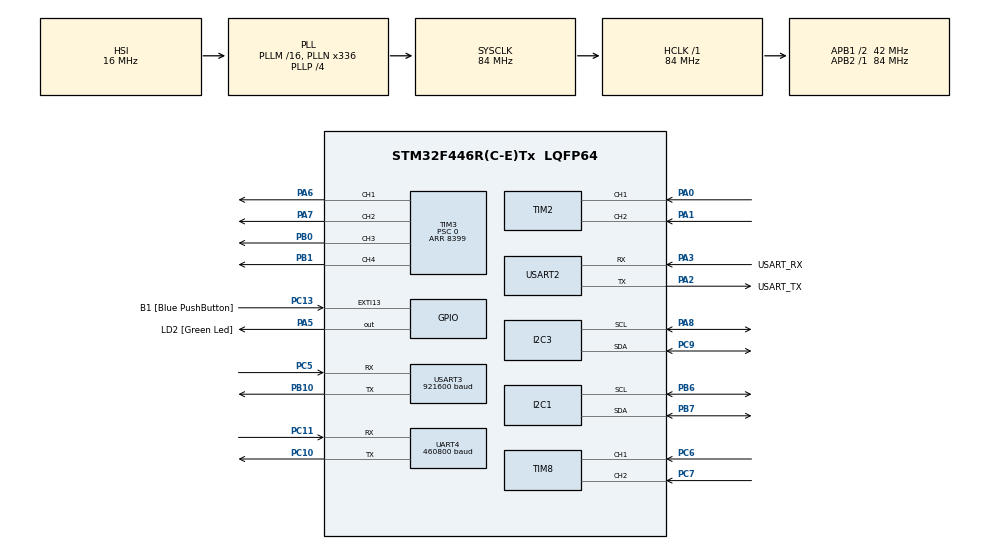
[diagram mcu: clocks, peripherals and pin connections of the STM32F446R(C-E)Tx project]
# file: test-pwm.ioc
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Dma.MEMTOMEM.2.Direction=DMA_MEMORY_TO_MEMORY
Dma.MEMTOMEM.2.FIFOMode=DMA_FIFOMODE_ENABLE
Dma.MEMTOMEM.2.FIFOThreshold=DMA_FIFO_THRESHOLD_FULL
Dma.MEMTOMEM.2.Instance=DMA2_Stream0
Dma.MEMTOMEM.2.MemBurst=DMA_MBURST_SINGLE
Dma.MEMTOMEM.2.MemDataAlignment=DMA_MDATAALIGN_BYTE
Dma.MEMTOMEM.2.MemInc=DMA_MINC_ENABLE
Dma.MEMTOMEM.2.Mode=DMA_NORMAL
Dma.MEMTOMEM.2.PeriphBurst=DMA_PBURST_SINGLE
Dma.MEMTOMEM.2.PeriphDataAlignment=DMA_PDATAALIGN_BYTE
Dma.MEMTOMEM.2.PeriphInc=DMA_PINC_ENABLE
Dma.MEMTOMEM.2.Priority=DMA_PRIORITY_LOW
Dma.Request0=UART4_RX
Dma.Request1=USART3_RX
Dma.Request2=MEMTOMEM
Dma.Request3=USART3_TX
Dma.UART4_RX.0.Direction=DMA_PERIPH_TO_MEMORY
Dma.UART4_RX.0.FIFOMode=DMA_FIFOMODE_DISABLE
Dma.UART4_RX.0.Instance=DMA1_Stream2
Dma.UART4_RX.0.MemDataAlignment=DMA_MDATAALIGN_BYTE
Dma.UART4_RX.0.MemInc=DMA_MINC_ENABLE
Dma.UART4_RX.0.Mode=DMA_CIRCULAR
Dma.UART4_RX.0.PeriphDataAlignment=DMA_PDATAALIGN_BYTE
Dma.UART4_RX.0.PeriphInc=DMA_PINC_DISABLE
Dma.UART4_RX.0.Priority=DMA_PRIORITY_LOW
Dma.USART3_RX.1.Direction=DMA_PERIPH_TO_MEMORY
Dma.USART3_RX.1.FIFOMode=DMA_FIFOMODE_DISABLE
Dma.USART3_RX.1.Instance=DMA1_Stream1
Dma.USART3_RX.1.MemDataAlignment=DMA_MDATAALIGN_BYTE
Dma.USART3_RX.1.MemInc=DMA_MINC_ENABLE
Dma.USART3_RX.1.Mode=DMA_NORMAL
Dma.USART3_RX.1.PeriphDataAlignment=DMA_PDATAALIGN_BYTE
Dma.USART3_RX.1.PeriphInc=DMA_PINC_DISABLE
Dma.USART3_RX.1.Priority=DMA_PRIORITY_LOW
Dma.USART3_TX.3.Direction=DMA_MEMORY_TO_PERIPH
Dma.USART3_TX.3.FIFOMode=DMA_FIFOMODE_DISABLE
Dma.USART3_TX.3.Instance=DMA1_Stream3
Dma.USART3_TX.3.MemDataAlignment=DMA_MDATAALIGN_BYTE
Dma.USART3_TX.3.MemInc=DMA_MINC_ENABLE
Dma.USART3_TX.3.Mode=DMA_NORMAL
Dma.USART3_TX.3.PeriphDataAlignment=DMA_PDATAALIGN_BYTE
Dma.USART3_TX.3.PeriphInc=DMA_PINC_DISABLE
Dma.USART3_TX.3.Priority=DMA_PRIORITY_LOW
Mcu.Family=STM32F4
Mcu.Name=STM32F446R(C-E)Tx
Mcu.Package=LQFP64
NVIC.DMA1_Stream1_IRQn=true\:0\:0\:false\:false\:true\:false\:true\:true
NVIC.DMA1_Stream2_IRQn=true\:0\:0\:false\:false\:true\:false\:true\:true
NVIC.DMA1_Stream3_IRQn=true\:0\:0\:false\:false\:true\:false\:true\:true
NVIC.PriorityGroup=NVIC_PRIORITYGROUP_4
NVIC.TIM5_IRQn=true\:1\:0\:true\:false\:true\:true\:true\:true
NVIC.TIM6_DAC_IRQn=true\:0\:0\:true\:false\:true\:true\:true\:true
NVIC.UART4_IRQn=true\:6\:0\:true\:false\:true\:true\:true\:true
NVIC.USART3_IRQn=true\:5\:0\:true\:false\:true\:true\:true\:true
PA0-WKUP.Signal=S_TIM2_CH1_ETR
PA1.Signal=S_TIM2_CH2
PA13.GPIO_Label=TMS
PA13.Mode=Serial_Wire
PA13.Signal=SYS_JTMS-SWDIO
PA14.GPIO_Label=TCK
PA14.Mode=Serial_Wire
PA14.Signal=SYS_JTCK-SWCLK
PA2.GPIO_Label=USART_TX
PA2.Mode=Asynchronous
PA2.Signal=USART2_TX
PA3.GPIO_Label=USART_RX
PA3.Mode=Asynchronous
PA3.Signal=USART2_RX
PA5.GPIO_Label=LD2 [Green Led]
PA5.Signal=GPIO_Output
PA6.Signal=S_TIM3_CH1
PA7.Signal=S_TIM3_CH2
PA8.Mode=I2C
PA8.Signal=I2C3_SCL
PB0.Signal=S_TIM3_CH3
PB1.Signal=S_TIM3_CH4
PB10.Mode=Asynchronous
PB10.Signal=USART3_TX
PB3.GPIO_Label=SWO
PB3.Signal=SYS_JTDO-SWO
PB6.Mode=I2C
PB6.Signal=I2C1_SCL
PB7.Mode=I2C
PB7.Signal=I2C1_SDA
PC10.Mode=Asynchronous
PC10.Signal=UART4_TX
PC11.Mode=Asynchronous
PC11.Signal=UART4_RX
PC13.GPIO_Label=B1 [Blue PushButton]
PC13.GPIO_ModeDefaultEXTI=GPIO_MODE_IT_FALLING
PC13.Signal=GPXTI13
PC14-OSC32_IN.Mode=LSE-External-Oscillator
PC14-OSC32_IN.Signal=RCC_OSC32_IN
PC15-OSC32_OUT.Mode=LSE-External-Oscillator
PC15-OSC32_OUT.Signal=RCC_OSC32_OUT
PC5.Mode=Asynchronous
PC5.Signal=USART3_RX
PC6.Signal=S_TIM8_CH1
PC7.Signal=S_TIM8_CH2
PC9.Mode=I2C
PC9.Signal=I2C3_SDA
PH0-OSC_IN.Mode=HSE-External-Oscillator
PH0-OSC_IN.Signal=RCC_OSC_IN
PH1-OSC_OUT.Mode=HSE-External-Oscillator
PH1-OSC_OUT.Signal=RCC_OSC_OUT
ProjectManager.HeapSize=0x200
ProjectManager.StackSize=0x400
ProjectManager.TargetToolchain=MDK-ARM V5.32
RCC.48MHZClocksFreq_Value=84000000
RCC.AHBFreq_Value=84000000
RCC.APB1CLKDivider=RCC_HCLK_DIV2
RCC.APB1Freq_Value=42000000
RCC.APB1TimFreq_Value=84000000
RCC.APB2Freq_Value=84000000
RCC.APB2TimFreq_Value=84000000
RCC.CortexFreq_Value=84000000
RCC.FLatency-AdvancedSettings=FLASH_LATENCY_2
RCC.HCLKFreq_Value=84000000
RCC.HSE_VALUE=8000000
RCC.HSI_VALUE=16000000
RCC.PLLN=336
RCC.PLLP=RCC_PLLP_DIV4
RCC.SYSCLKFreq_VALUE=84000000
RCC.SYSCLKSource=RCC_SYSCLKSOURCE_PLLCLK
RCC.USBFreq_Value=168000000
RCC.VCOOutputFreq_Value=336000000
SH.S_TIM2_CH1_ETR.0=TIM2_CH1,Encoder_Interface
SH.S_TIM2_CH2.0=TIM2_CH2,Encoder_Interface
SH.S_TIM3_CH1.0=TIM3_CH1,PWM Generation1 CH1
SH.S_TIM3_CH2.0=TIM3_CH2,PWM Generation2 CH2
SH.S_TIM3_CH3.0=TIM3_CH3,PWM Generation3 CH3
SH.S_TIM3_CH4.0=TIM3_CH4,PWM Generation4 CH4
SH.S_TIM8_CH1.0=TIM8_CH1,Encoder_Interface
SH.S_TIM8_CH2.0=TIM8_CH2,Encoder_Interface
TIM2.EncoderMode=TIM_ENCODERMODE_TI12
TIM3.AutoReloadPreload=TIM_AUTORELOAD_PRELOAD_ENABLE
TIM3.Channel-PWM\ Generation1\ CH1=TIM_CHANNEL_1
TIM3.Channel-PWM\ Generation2\ CH2=TIM_CHANNEL_2
TIM3.Channel-PWM\ Generation3\ CH3=TIM_CHANNEL_3
TIM3.Channel-PWM\ Generation4\ CH4=TIM_CHANNEL_4
TIM3.Period=8399
TIM3.Prescaler=0
TIM3.Pulse-PWM\ Generation1\ CH1=8400
TIM3.Pulse-PWM\ Generation2\ CH2=5000
TIM3.Pulse-PWM\ Generation3\ CH3=8400
TIM3.Pulse-PWM\ Generation4\ CH4=5000
TIM5.Period=39999
TIM5.Prescaler=839
TIM5.TIM_MasterOutputTrigger=TIM_TRGO_RESET
TIM6.Period=99
TIM6.Prescaler=8399
TIM7.Prescaler=83
TIM8.EncoderMode=TIM_ENCODERMODE_TI12
UART4.BaudRate=460800
UART4.VirtualMode=Asynchronous
USART2.VirtualMode=VM_ASYNC
USART3.BaudRate=921600
USART3.VirtualMode=VM_ASYNC
VP_TIM1_VS_ClockSourceINT.Mode=Internal
VP_TIM3_VS_ClockSourceINT.Mode=Internal
VP_TIM5_VS_ClockSourceINT.Mode=Internal
VP_TIM6_VS_ClockSourceINT.Mode=Enable_Timer
VP_TIM7_VS_ClockSourceINT.Mode=Enable_Timer
board=NUCLEO-F446RE

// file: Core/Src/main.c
/* USER CODE BEGIN Header */
/**
  ******************************************************************************
  * @file           : main.c
  * @brief          : Main program body
  ******************************************************************************
  * @attention
  *
  * Copyright (c) 2025 STMicroelectronics.
  * All rights reserved.
  *
  * This software is licensed under terms that can be found in the LICENSE file
  * in the root directory of this software component.
  * If no LICENSE file comes with this software, it is provided AS-IS.
  *
  ******************************************************************************
  */
/* USER CODE END Header */
#include "main.h"
#include "dma.h"
#include "i2c.h"
#include "tim.h"
#include "usart.h"
#include "gpio.h"

/* USER CODE BEGIN Includes */
#include "mpu6050.h"
#include <string.h>
#include "communication.h"
#include "car_control.h"
#include "OLED.h"
#include "encoder.h"
#include <stdio.h>
#include "speed_solver.h"
#include "pid.h"
#include "laser_task.h"
#include "motor.h"
/* USER CODE END Includes */

/* USER CODE BEGIN PM */
volatile float current_yaw;
extern float angle_new,distance_new;
extern volatile int t;
extern volatile int V_A,V_B;
extern volatile float yaw_angle;
extern uint8_t uart3_rx_buffer[ ];
//extern volatile float angle_array[ ];   // 存储计算出的角度
//extern volatile float distance_array[ ]; // 存储计算出的距离
volatile int flag=0;
volatile int choice=0;
  char message[520*50];  // 每个数据项大约50个字符, 一共360个数据项
       int message_length = 0;   // 用来记录总消息长度
#define BUFFER_SIZE  2600
//#define HALF_SIZE    (BUFFER_SIZE / 2)
extern uint8_t buffer1[BUFFER_SIZE];
volatile int cmd2;
// 使用 volatile 来防止编译器优化
volatile uint16_t angle_q6[520];   // 存储计算出的角度
volatile uint16_t distance_q2[520]; // 存储计算出的距离
volatile uint8_t Quality[520];
volatile float angle_t[520];
volatile 	int w=0;
volatile int cmd_id=0;
volatile uint8_t status=0;
float angle_array[520];
float distance_array[520];
volatile float distance;
volatile int goal=0;

typedef struct __attribute__((packed)) {
    uint8_t Quality;
    uint16_t angle_q6;
    uint16_t distance_q2;
} RPLIDAR_Scan_Data_Send;

typedef struct __attribute__((packed)) {
    uint16_t data_count;
		RPLIDAR_Scan_Data_Send send_data[520];
} RPLIDAR_Send_Data;

void send_packetPacNew(
		uint8_t Send_Begin_1,
    uint8_t Send_Begin_2,

    uint32_t time_us,
    uint16_t cmd_id,
    uint8_t status,

    int encoder_l,
    int encoder_r,
    float current_yaw
	//	RPLIDAR_Send_Data rplidar520

) ;
RPLIDAR_Send_Data createRPLIDARData(
     uint8_t Quality[520],
    uint16_t angle_q6[520],
     uint16_t distance_q2[520]
) ;
RPLIDAR_Send_Data createRPLIDARData(
     uint8_t Quality[520],
    uint16_t angle_q6[520],
    uint16_t distance_q2[520]
);

		 struct __attribute__((packed)) {
        uint8_t Send_Begin_1; // ???????1
        uint8_t Send_Begin_2; // ???????2
        uint32_t time_us;     // ???
        uint16_t cmd_id;      // ??ID
        uint8_t status;       // ??
        int encoder_l;        // ????
        int encoder_r;        // ????
        float current_yaw;    // ????
     //  RPLIDAR_Send_Data rplidar_data; // LIDAR??
    } packet;
		 uint8_t tx_buffer[2600];  // DMA 发送用缓冲区
//encoder_l == V_A  encoder_r == V_B
/* USER CODE END PM */

/* USER CODE BEGIN PV */

volatile int16_t g_speed_pulse_left = 0;
volatile int16_t g_speed_pulse_right = 0;
 RPLIDAR_Send_Data rplidar_data;
PID_Controller_t pid_left;
PID_Controller_t pid_right;
volatile int tip=0;
volatile int tip2=0;
MPU6050_t mpu6050;
/* USER CODE END PV */

void SystemClock_Config(void);
/* USER CODE BEGIN PFP */
void processCommand(uint8_t command);
void Safe_UART_Transmit(UART_HandleTypeDef* huart, uint8_t* pData, uint16_t Size, uint32_t Timeout);
void send_packetPac(float anglePac,float distancePac,float pitchPac,float rollPac,float yawPac,float speedLeftPac,float speedRightPac);
int clc(float d){

return (int)(d*6625);
}

/* USER CODE END PFP */

/* USER CODE BEGIN 0 */

#define PWM_MAX_PERIOD          8400

#define MOTOR_TIM               htim3
//static uint32_t tickCnt = 0;

/*void HAL_SYSTICK_Callback(void)
{
  tickCnt++;
  // 姣? 100 ms 瑙﹀彂涓?娆″彂閫?
  if (tickCnt >= 100) {
    tickCnt = 0;
		float left_speed = Get_Left_Speed_RPS();
		float right_speed = Get_Right_Speed_RPS();

    send_packetPac(angle_new,distance_new,pitch,roll,yaw,left_speed,right_speed);
  }
}*/
/* USER CODE END 0 */

int main(void)
{

  /* MCU Configuration--------------------------------------------------------*/

  /* Reset of all peripherals, Initializes the Flash interface and the Systick. */
  HAL_Init();

  /* Configure the system clock */
  SystemClock_Config();

  /* Initialize all configured peripherals */
  MX_GPIO_Init();
  MX_DMA_Init();
  MX_USART2_UART_Init();
  MX_TIM3_Init();
  MX_USART3_UART_Init();
  MX_I2C1_Init();
  MX_I2C3_Init();
  MX_TIM8_Init();
  MX_TIM2_Init();
  MX_TIM6_Init();
  MX_UART4_Init();
  MX_TIM7_Init();
  MX_TIM1_Init();
  MX_TIM5_Init();
  /* USER CODE BEGIN 2 */

  HAL_TIM_PWM_Start(&htim3,TIM_CHANNEL_1);
 HAL_TIM_PWM_Start(&htim3,TIM_CHANNEL_2);
	HAL_TIM_PWM_Start(&htim3,TIM_CHANNEL_3);
	HAL_TIM_PWM_Start(&htim3,TIM_CHANNEL_4);
	stopMotors();
	Encoder_Init();
	Speed_Solver_Init();
	Communication_Init();
	HAL_TIM_Base_Start_IT(&htim6);
	HAL_TIM_Base_Start(&htim7);
	Speed_PID_Init();
	OLED_Init();
	OLED_ShowString8X16(0,0,"56789");
		int ret=1;
	do{
	ret=MPU6050_Init(&hi2c1);

	}while(ret);
	OLED_ShowString8X16(0,0,"12345");
		__HAL_TIM_CLEAR_FLAG(&htim1,TIM_FLAG_UPDATE);
		Laser_Task_Init();

//	HAL_TIM_Base_Start_IT(&htim5);
	//HAL_TIM_Base_Start_IT(&htim5);

	//PID1();

	//goForward(4500);
//	OLED_ShowString8X16(0,0,"MPU6050 Init");

//	stopMotors( );

//	int ret=0;
	//do{
//	ret=MPU6050_DMP_init();
//
//	}while(ret);

	  //HAL_Delay(1000);

	  //float set_speed = 3.0f;
		//GoForward_PID(set_speed);

    //HAL_Delay(1000);
    //Stop_PID();

  /* USER CODE END 2 */

  /* Infinite loop */
  while (1)
  {

    /* USER CODE BEGIN 3 */
		//OLED_Showdecimal8X16(0,2,V_A,5,3);
		//OLED_ShowNum8X16(0,4,tip,8);
		while(tip==1){
			//OLED_ShowString8X16(0,6,"it itff");
			 CommandPacket_t temp_cmd;
        memcpy(&temp_cmd, &uart3_rx_buffer[2], sizeof(CommandPacket_t));
	if(temp_cmd.data_len==10){
				cmd2=temp_cmd.cmd_id;
				OLED_ShowNum8X16(0,2,cmd2,8);
	//OLED_ShowString8X16(0,2,"it itff");
		OLED_Showdecimal8X16(0,4,temp_cmd.turn_rad,6,3);
			if(temp_cmd.turn_rad<185&&temp_cmd.turn_rad>-185){
			status=1;
			PID_TurnToLeft(temp_cmd.turn_rad);
			yaw_angle=0;
			status=2;
				HAL_Delay(7);
			distance=	temp_cmd.distance;
			goal=V_A+clc(distance);

			while(V_A<goal){
			 GetMotorPulse();
				PID1();

			}
			stopMotors();

			//
			//	OLED_ShowNum8X16(0,2,status,8);

		}}
	  status=0;
		tip=0;
		cmd_id=cmd2;
		HAL_UART_Receive_DMA(&huart3, uart3_rx_buffer, 16);

		}
		status=0;
		//OLED_Showdecimal8X16(0,4,yaw_angle,6,3);
	//	PID_TurnToLeft(180);
	//		OLED_Showdecimal8X16(0,4,current_yaw,6,3);
	//	yaw_angle=0;
	//	HAL_Delay(3000);

		//PID_TurnToLeft(180);
	//	OLED_Showdecimal8X16(0,2,mpu6050.KalmanAngleZ,3,3);
		//HAL_Delay(100);

		 //HAL_Delay(300);
	//while(tip==1){
	//	PID_TurnToLeft(CommandPacket_t.turn_rad);

//  }

  }
  /* USER CODE END 3 */
}

void SystemClock_Config(void)
{
  RCC_OscInitTypeDef RCC_OscInitStruct = {0};
  RCC_ClkInitTypeDef RCC_ClkInitStruct = {0};

  /** Configure the main internal regulator output voltage
  */
  __HAL_RCC_PWR_CLK_ENABLE();
  __HAL_PWR_VOLTAGESCALING_CONFIG(PWR_REGULATOR_VOLTAGE_SCALE3);

  /** Initializes the RCC Oscillators according to the specified parameters
  * in the RCC_OscInitTypeDef structure.
  */
  RCC_OscInitStruct.OscillatorType = RCC_OSCILLATORTYPE_HSI;
  RCC_OscInitStruct.HSIState = RCC_HSI_ON;
  RCC_OscInitStruct.HSICalibrationValue = RCC_HSICALIBRATION_DEFAULT;
  RCC_OscInitStruct.PLL.PLLState = RCC_PLL_ON;
  RCC_OscInitStruct.PLL.PLLSource = RCC_PLLSOURCE_HSI;
  RCC_OscInitStruct.PLL.PLLM = 16;
  RCC_OscInitStruct.PLL.PLLN = 336;
  RCC_OscInitStruct.PLL.PLLP = RCC_PLLP_DIV4;
  RCC_OscInitStruct.PLL.PLLQ = 2;
  RCC_OscInitStruct.PLL.PLLR = 2;
  if (HAL_RCC_OscConfig(&RCC_OscInitStruct) != HAL_OK)
  {
    Error_Handler();
  }

  /** Initializes the CPU, AHB and APB buses clocks
  */
  RCC_ClkInitStruct.ClockType = RCC_CLOCKTYPE_HCLK|RCC_CLOCKTYPE_SYSCLK
                              |RCC_CLOCKTYPE_PCLK1|RCC_CLOCKTYPE_PCLK2;
  RCC_ClkInitStruct.SYSCLKSource = RCC_SYSCLKSOURCE_PLLCLK;
  RCC_ClkInitStruct.AHBCLKDivider = RCC_SYSCLK_DIV1;
  RCC_ClkInitStruct.APB1CLKDivider = RCC_HCLK_DIV2;
  RCC_ClkInitStruct.APB2CLKDivider = RCC_HCLK_DIV1;

  if (HAL_RCC_ClockConfig(&RCC_ClkInitStruct, FLASH_LATENCY_2) != HAL_OK)
  {
    Error_Handler();
  }
}

/* USER CODE BEGIN 4 */

void processCommand(uint8_t command)
{

  uint16_t move_speed = 5500;
  uint16_t turn_speed = 5000;
//	OLED_ShowString8X16(0,4,"456");

  switch (command)
  {
    case 0x01:
      goForward(move_speed);
		  //HAL_UART_Transmit(&huart3, &command, 1, HAL_MAX_DELAY);
      break;
    case 0x02:
      goBackward(move_speed);
		  //HAL_UART_Transmit(&huart3, &command, 1, HAL_MAX_DELAY);
      break;
    case 0x03:
      stopMotors();
		  //HAL_UART_Transmit(&huart3, &command, 1, HAL_MAX_DELAY);
      break;
    case 0x04:
			//PID_TurnToLeft();
      //PID_TurnToLeft();
		  //HAL_UART_Transmit(&huart3, &command, 1, HAL_MAX_DELAY);
      break;
    case 0x05:
			//PID_TurnToRight();
      turnRight(turn_speed);
		  //HAL_UART_Transmit(&huart3, &command, 1, HAL_MAX_DELAY);
      break;
    default:

		  stopMotors();
      break;
  }
}

void HAL_TIM_PeriodElapsedCallback(TIM_HandleTypeDef *htim) //中断10ms1次
{

	if(htim == (&htim5))//100ms中断
	{  if(flag==1){

		//volatile uint8_t dummy = status;

	/*	 volatile uint8_t *data = buffer1;  // 使用 volatile 以确保每次都读取最新值
			  int j=0;
		//	send_packetPacNew(0x55,0xAA,HAL_GetTick(),(int)cmd_id,(uint8_t)status,(int)V_A,(int)V_B,(float)current_yaw)	;
	//	rplidar_data.data_count=520;
	//	HAL_UART_Transmit(&huart3, (uint8_t*)&rplidar_data.data_count, sizeof(rplidar_data.data_count), HAL_MAX_DELAY);
       for (uint16_t i = 0; i < BUFFER_SIZE; i += 5)   // 这里根据你的数据帧长度修改步进
        { // rplidar_data.send_data[j].Quality=(uint8_t)data[i];
           //rplidar_data.send_data[j].angle_q6 = (((uint16_t)(data[i + 2] << 7) + (data[i + 1] ))) ;
					angle_t[j++]=(((uint16_t)(data[i + 2] << 7) + (data[i + 1]>>1 ))) /64.0f;}
          // rplidar_data.send_data[j++].distance_q2 = (((uint16_t)(data[i + 4] << 8) + (data[i + 3]))) ;}
					//send_packetPacNew(0x55,0xAA,HAL_GetTick(),(int)cmd_id,(uint8_t)status,(int)V_A,(int)V_B,(float)current_yaw)	;
					// rplidar_data.data_count=520;
		     //  HAL_UART_Transmit(&huart3, (uint8_t*)&rplidar_data.data_count, sizeof(rplidar_data.data_count), HAL_MAX_DELAY);
				//	 for(int t=0;t<j;t++){
        //    HAL_UART_Transmit(&huart3, &rplidar_data.send_data[t].Quality, sizeof(rplidar_data.send_data[t].Quality), HAL_MAX_DELAY);
         //    HAL_UART_Transmit(&huart3,(uint8_t*) &rplidar_data.send_data[t].angle_q6, sizeof(rplidar_data.send_data[t].angle_q6), HAL_MAX_DELAY);
         //     HAL_UART_Transmit(&huart3,(uint8_t*) &rplidar_data.send_data[t].distance_q2, sizeof(rplidar_data.send_data[t].distance_q2), HAL_MAX_DELAY);}
				//	HAL_UART_Transmit(&huart3, &rplidar_data.send_data[j].angle_q6, sizeof(rplidar_data.send_data[j].angle_q6), HAL_MAX_DELAY);

				//createRPLIDARData((uint8_t*)Quality,(uint16_t*)angle_q6,(uint16_t*)distance_q2);
		//send_packetPacNew(0x55,0xAA,HAL_GetTick(),(int)cmd_id,(uint8_t)status,(int)V_A,(int)V_B,(float)current_yaw,rplidar_data)	;
			  for (uint16_t i = 0; i< 520; i++) {
       //格式化每一对 angle 和 distance 数据，存入 message
        int len = sprintf(message + message_length, "angle: %f;\r\n", angle_t[i]);
        message_length += len; // 更新总消息长度
    }
			  int len = sprintf(message + message_length, "over\n");
		   message_length += len;

        // 通过 UART 发送所有的数据
      HAL_UART_Transmit(&huart3, (uint8_t*)message, message_length,HAL_MAX_DELAY);
		message_length=0;
	//	HAL_UART_Transmit_DMA(&huart3,buffer1,2600);
			 cmd_id++;
	 */
	//	OLED_ShowNum8X16(0,4,w++,8);
		 volatile uint8_t *data = buffer1;  // 使用 volatile 以确保每次都读取最新值
			  int j=0;
       for (uint16_t i = 0; i < BUFFER_SIZE; i += 5)   // 这里根据你的数据帧长度修改步进
        {  int quality=data[i];
           int angle_new = (((uint16_t)(data[i + 2] << 7) + (data[i + 1] >> 1))) ;
           int distance_new = (((uint16_t)(data[i + 4] << 8) + (data[i + 3]))) ;
           Quality[j]=quality;
					angle_q6[j]=angle_new;
					distance_q2[j++]=distance_new;
					//angle_array[j++]=angle_new;   // 存储计算出的角度
            //distance_array[j++]=distance_new;
       }

			 send_packetPacNew(0x55,0xAA,HAL_GetTick(),(uint16_t)cmd_id,(uint8_t)status,(int)V_A,(int)(-V_B),(float)current_yaw)	;
		rplidar_data.data_count=520;
		HAL_UART_Transmit(&huart3, (uint8_t*)&rplidar_data.data_count, sizeof(rplidar_data.data_count), HAL_MAX_DELAY);
	/*	 for(int t=0;t<520;t++){
            HAL_UART_Transmit(&huart3, (uint8_t*)&Quality[t], sizeof(Quality[t]), HAL_MAX_DELAY);
             HAL_UART_Transmit(&huart3,(uint8_t*) &angle_q6[t], sizeof(angle_q6[t]), HAL_MAX_DELAY);
             HAL_UART_Transmit(&huart3,(uint8_t*) &distance_q2[t], sizeof(distance_q2[t]), HAL_MAX_DELAY);}*/
			 uint16_t offset = 0;
for (int t = 0; t < 520; t++) {
    tx_buffer[offset++] = Quality[t];
    tx_buffer[offset++] = (uint8_t)(angle_q6[t] & 0xFF);       // angle 低字节
    tx_buffer[offset++] = (uint8_t)((angle_q6[t] >> 8) & 0xFF); // angle 高字节
    tx_buffer[offset++] = (uint8_t)(distance_q2[t] & 0xFF);     // distance 低字节
    tx_buffer[offset++] = (uint8_t)((distance_q2[t] >> 8) & 0xFF); // distance 高字节
}

HAL_UART_Transmit_DMA(&huart3, tx_buffer, 2600);

				//	HAL_UART_Transmit(&huart3, &rplidar_data.send_data[j].angle_q6, sizeof(rplidar_data.send_data[j].angle_q6), HAL_MAX_DELAY);

				//int start=0;
			//	if(choice==0) {start=0;choice=1;}
		//		else {choice=0; start=180;}

	}

	}

if(htim == (&htim6)){//10ms中断

  GetMotorPulse();
	MPU6050_Read_All(&hi2c1,&mpu6050);
	current_yaw=mpu6050.KalmanAngleZ;
	//OLED_Showdecimal8X16(0,2,current_yaw,3,3);
	//if(tip2==1&&V_A<goal){	status=2;PID1();		OLED_ShowNum8X16(0,2,status,8);	}
	//else if(tip2==1&&V_A>=goal){
//	yaw_angle=0;
	//stopMotors();
	//		tip2=0;
		//status=0;
	//	cmd_id=cmd2;
//	}
//PID1();
}

}

extern UART_HandleTypeDef huart3;

/**
 * @brief Redefines the write function.
 * @note printf() function is implemented by calling this function.
 * @param file: X - write descriptor.
 * @param ptr: Pointer to the data to be sent.
 * @param len: Length of the data to be sent.
 * @retval: Returns the length of data sent.
 */
int _write(int file, char *ptr, int len)
{

  HAL_StatusTypeDef status = HAL_UART_Transmit(&huart3, (uint8_t *)ptr, len, HAL_MAX_DELAY);

  if (status == HAL_OK)
  {
    return len;
  }
  else
  {

    return -1;
  }
}

void Safe_UART_Transmit(UART_HandleTypeDef* huart, uint8_t* pData, uint16_t Size, uint32_t Timeout)
{

    HAL_NVIC_DisableIRQ(USART3_IRQn);

    HAL_UART_Transmit(huart, pData, Size, Timeout);

    HAL_NVIC_EnableIRQ(USART3_IRQn);
}

void send_packetPac(
    float anglePac,
    float distancePac,
    float pitchPac,
    float rollPac,
    float yawPac,
    float speedLeftPac,
		float speedRightPac
) {
    uint8_t packetPac[31];
    uint8_t idxPac = 0;

    packetPac[idxPac++] = 0xA5;

	  memcpy(&packetPac[idxPac], &anglePac, 4); idxPac += 4;
    memcpy(&packetPac[idxPac], &distancePac, 4);  idxPac += 4;

    memcpy(&packetPac[idxPac], &pitchPac, 4); idxPac += 4;
    memcpy(&packetPac[idxPac], &rollPac, 4);  idxPac += 4;
    memcpy(&packetPac[idxPac], &yawPac, 4);   idxPac += 4;
    memcpy(&packetPac[idxPac], &speedLeftPac, 4); idxPac += 4;
	  memcpy(&packetPac[idxPac], &speedRightPac, 4); idxPac += 4;

    uint16_t sumPac = 0;
    for (int iPac = 1; iPac <= 28; ++iPac) {
        sumPac += packetPac[iPac];
    }
    packetPac[idxPac++] = (uint8_t)(sumPac & 0xFF);

    packetPac[idxPac++] = 0x5A;
    HAL_UART_Transmit(&huart3, packetPac, sizeof(packetPac), HAL_MAX_DELAY);
}

void send_packetPacNew(
		uint8_t Send_Begin_1,
    uint8_t Send_Begin_2,

    uint32_t time_us,
    uint16_t cmd_id,
    uint8_t status,

    int encoder_l,
    int encoder_r,
    float current_yaw
	//	RPLIDAR_Send_Data rplidar520

) {

    // ???????
    packet.Send_Begin_1 = Send_Begin_1;
    packet.Send_Begin_2 = Send_Begin_2;
    packet.time_us = time_us;
    packet.cmd_id = cmd_id;
    packet.status = status;
    packet.encoder_l = encoder_l;
    packet.encoder_r = encoder_r;
    packet.current_yaw = current_yaw;
  // packet.rplidar_data = rplidar520; // ?LIDAR?????????

    // ???????
   HAL_UART_Transmit(&huart3, (uint8_t *)&packet, sizeof(packet), HAL_MAX_DELAY);
}

RPLIDAR_Send_Data createRPLIDARData(
     uint8_t Quality[520],
    uint16_t angle_q6[520],
     uint16_t distance_q2[520]
) {
   // RPLIDAR_Send_Data rplidar_data; // 定义返回的结构体

    // 设置数据计数
    rplidar_data.data_count = 520;

    // 循环填充send_data数组
	//OLED_ShowNum8X16(0,2,w++,8);
    for (int i = 0; i < 520; i++) {
        rplidar_data.send_data[i].Quality = Quality[i];       // 填充质量
        rplidar_data.send_data[i].angle_q6 = angle_q6[i];    // 填充角度
        rplidar_data.send_data[i].distance_q2 = distance_q2[i];  // 填充距离
    }
		//OLED_ShowNum8X16(0,4,w++,8);
			OLED_ShowNum8X16(0,2,w++,8);
	   return rplidar_data; // 返回填充好的结构体
}

/* USER CODE END 4 */

void Error_Handler(void)
{
  __disable_irq();
  while (1)
  {
  }
}
